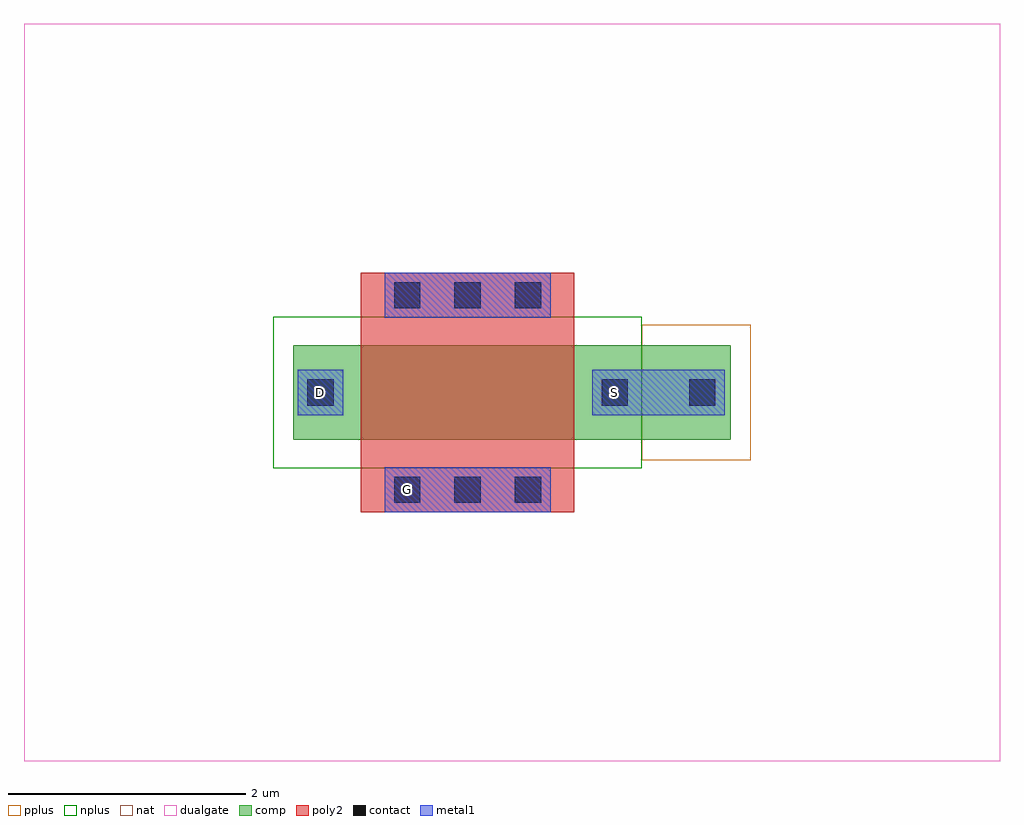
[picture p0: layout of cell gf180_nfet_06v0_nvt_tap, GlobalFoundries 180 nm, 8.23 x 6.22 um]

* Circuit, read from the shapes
.subckt gf180_nfet_06v0_nvt_tap D G S
XM1 S G D S nfet_06v0_nvt w=0.8u l=1.8u
.ends

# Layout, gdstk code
import gdstk
lib = gdstk.Library(unit=1e-6, precision=1e-09)
def R(c, l, rs):  # rectangles x0, y0, x1, y1
    for r in rs: c.add(gdstk.rectangle(r[:2], r[2:], *l))
def A(c, l, x, y, w, h, nx, ny, dx, dy):  # array of equal rectangles
    R(c, l, [(x+i*dx, y+j*dy, x+i*dx+w, y+j*dy+h) for i in range(nx) for j in range(ny)])
nat = (5, 0)
comp = (22, 0)
poly2 = (30, 0)
pplus = (31, 0)
nplus = (32, 0)
contact = (33, 0)
metal1 = (34, 0)
dualgate = (55, 0)

nfet_06v0_nvt = lib.new_cell('nfet_06v0_nvt')
R(nfet_06v0_nvt, nat, [(-2.73,-2.71,5.5,3.51)])
R(nfet_06v0_nvt, comp, [(-0.46,0,3.23,0.8)])
R(nfet_06v0_nvt, poly2, [(0.11,-0.61,1.91,1.41)])
R(nfet_06v0_nvt, pplus, [(2.48,-0.17,3.4,0.97)])
R(nfet_06v0_nvt, nplus, [(-0.63,-0.24,2.48,1.04)])
A(nfet_06v0_nvt, contact, 0.39, -0.53, 0.22, 0.22, 3, 2, 0.51, 1.64)
R(nfet_06v0_nvt, contact, [(-0.34,0.29,-0.12,0.51), (2.14,0.29,2.36,0.51), (2.88,0.29,3.1,0.51)])
R(nfet_06v0_nvt, metal1, [(0.31,-0.61,1.71,-0.23), (-0.42,0.21,-0.04,0.59), (2.06,0.21,2.44,0.59), (2.8,0.21,3.18,0.59), (0.31,1.03,1.71,1.41)])
R(nfet_06v0_nvt, dualgate, [(-2.73,-2.71,5.5,3.51)])

gf180_nfet_06v0_nvt_tap = lib.new_cell('gf180_nfet_06v0_nvt_tap')
R(gf180_nfet_06v0_nvt_tap, metal1, [(2.44,0.21,2.8,0.59)])
gf180_nfet_06v0_nvt_tap.add(gdstk.Reference(nfet_06v0_nvt, (0,0)))
gf180_nfet_06v0_nvt_tap.add(gdstk.Label('D', (-0.23,0.4), layer=34, texttype=10))
gf180_nfet_06v0_nvt_tap.add(gdstk.Label('S', (2.25,0.4), layer=34, texttype=10))
gf180_nfet_06v0_nvt_tap.add(gdstk.Label('G', (0.5,-0.42), layer=34, texttype=10))

lib.write_gds('gf180_nfet_06v0_nvt_tap.gds')
